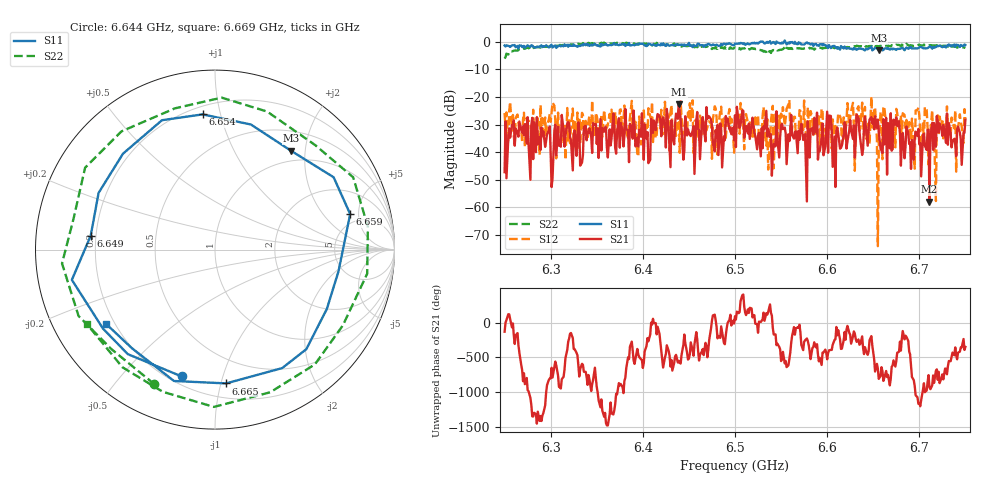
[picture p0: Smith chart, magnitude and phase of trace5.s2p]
# Hz S RI R 50
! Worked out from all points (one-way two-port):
!   401 points, 6.25 GHz to 6.75 GHz, reference 50 ohm
!   highest |S21| = -22.56 dB at 6.439 GHz (marker M1); lowest = -57.9 dB at 6.711 GHz (marker M2)
!   lowest |S11| = -3.2 dB at 6.656 GHz (marker M3), VSWR 5.55, Z = 40.6 + j86.6 ohm
!   |S11| at or under -10 dB: nowhere
!   |S22| runs from -6.1 to -0.3 dB; largest |S21 - S12| = 0.11
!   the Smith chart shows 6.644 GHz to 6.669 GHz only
!   S11 on the Smith chart (normalised r, x): 6.644 GHz: 0.24, -0.74; 6.649 GHz: 0.18, +0.05; 6.654 GHz: 0.25, +0.88; 6.659 GHz: 3.93, +3.96; 6.665 GHz: 0.31, -1.04; 6.669 GHz: 0.17, -0.30
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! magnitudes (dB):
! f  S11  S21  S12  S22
! 6.25 GHz  -1.4  -47.2  -25.8  -6.1
! 6.258 GHz  -1.3  -30.1  -32.0  -3.5
! 6.334 GHz  -1.1  -43.7  -25.7  -0.9
! 6.418 GHz  -1.2  -26.9  -25.8  -0.5
! 6.431 GHz  -1.2  -28.4  -22.9  -1.6
! 6.439 GHz  -1.2  -22.6  -23.7  -1.4
! 6.454 GHz  -1.9  -32.3  -21.2  -1.3
! 6.471 GHz  -0.8  -27.0  -28.8  -2.3
! 6.5 GHz  -0.7  -26.6  -28.1  -2.1
! 6.534 GHz  -0.3  -25.0  -37.6  -3.7
! 6.541 GHz  -0.2  -41.0  -23.2  -3.1
! 6.584 GHz  -0.7  -31.3  -27.5  -2.4
! 6.644 GHz  -2.7  -37.6  -33.7  -1.7
! 6.649 GHz  -3.1  -29.5  -31.1  -1.9
! 6.654 GHz  -2.4  -31.1  -35.1  -1.4
! 6.656 GHz  -3.2  -32.8  -36.1  -1.9
! 6.659 GHz  -2.2  -39.4  -27.4  -1.3
! 6.665 GHz  -2.5  -48.1  -31.7  -1.1
! 6.668 GHz  -2.9  -38.6  -35.8  -1.6
! 6.669 GHz  -2.7  -25.9  -28.9  -1.7
! 6.711 GHz  -1.8  -57.9  -33.2  -1.3
! 6.75 GHz  -1.2  -28.2  -28.2  -2.2
